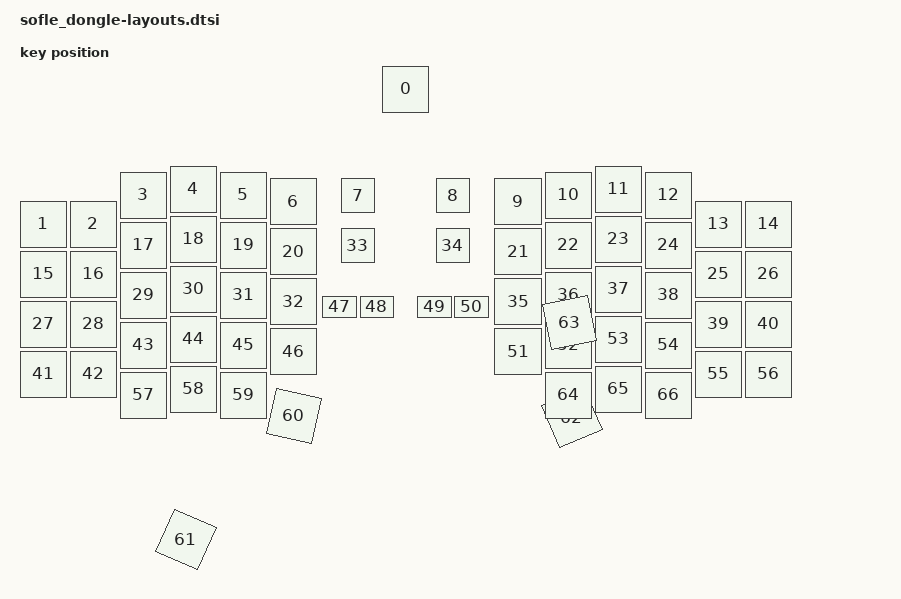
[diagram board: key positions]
#include <physical_layouts.dtsi>
#include <dt-bindings/zmk/matrix_transform.h>

/ {
    sofle_dongle_layout: sofle_dongle_layout {
        compatible = "zmk,physical-layout";
        display-name = "sofle_dongle";

        kscan = <&kscan0>;
        transform = <&matrix_transform0>;

        keys  //                     w   h    x    y     rot    rx    ry
            = <&key_physical_attrs 100 100  725    0       0     0     0>
            , <&key_physical_attrs 100 100    0  270       0     0     0>
            , <&key_physical_attrs 100 100  100  270       0     0     0>
            , <&key_physical_attrs 100 100  200  212       0     0     0>
            , <&key_physical_attrs 100 100  300  200       0     0     0>
            , <&key_physical_attrs 100 100  400  212       0     0     0>
            , <&key_physical_attrs 100 100  500  225       0     0     0>
            , <&key_physical_attrs  75  75  642  225       0     0     0>
            , <&key_physical_attrs  75  75  832  225       0     0     0>
            , <&key_physical_attrs 100 100  950  225       0     0     0>
            , <&key_physical_attrs 100 100 1050  212       0     0     0>
            , <&key_physical_attrs 100 100 1150  200       0     0     0>
            , <&key_physical_attrs 100 100 1250  212       0     0     0>
            , <&key_physical_attrs 100 100 1350  270       0     0     0>
            , <&key_physical_attrs 100 100 1450  270       0     0     0>
            , <&key_physical_attrs 100 100    0  370       0     0     0>
            , <&key_physical_attrs 100 100  100  370       0     0     0>
            , <&key_physical_attrs 100 100  200  312       0     0     0>
            , <&key_physical_attrs 100 100  300  300       0     0     0>
            , <&key_physical_attrs 100 100  400  312       0     0     0>
            , <&key_physical_attrs 100 100  500  325       0     0     0>
            , <&key_physical_attrs 100 100  950  325       0     0     0>
            , <&key_physical_attrs 100 100 1050  312       0     0     0>
            , <&key_physical_attrs 100 100 1150  300       0     0     0>
            , <&key_physical_attrs 100 100 1250  312       0     0     0>
            , <&key_physical_attrs 100 100 1350  370       0     0     0>
            , <&key_physical_attrs 100 100 1450  370       0     0     0>
            , <&key_physical_attrs 100 100    0  470       0     0     0>
            , <&key_physical_attrs 100 100  100  470       0     0     0>
            , <&key_physical_attrs 100 100  200  412       0     0     0>
            , <&key_physical_attrs 100 100  300  400       0     0     0>
            , <&key_physical_attrs 100 100  400  412       0     0     0>
            , <&key_physical_attrs 100 100  500  425       0     0     0>
            , <&key_physical_attrs  75  75  642  325       0     0     0>
            , <&key_physical_attrs  75  75  832  325       0     0     0>
            , <&key_physical_attrs 100 100  950  425       0     0     0>
            , <&key_physical_attrs 100 100 1050  412       0     0     0>
            , <&key_physical_attrs 100 100 1150  400       0     0     0>
            , <&key_physical_attrs 100 100 1250  412       0     0     0>
            , <&key_physical_attrs 100 100 1350  470       0     0     0>
            , <&key_physical_attrs 100 100 1450  470       0     0     0>
            , <&key_physical_attrs 100 100    0  570       0     0     0>
            , <&key_physical_attrs 100 100  100  570       0     0     0>
            , <&key_physical_attrs 100 100  200  512       0     0     0>
            , <&key_physical_attrs 100 100  300  500       0     0     0>
            , <&key_physical_attrs 100 100  400  512       0     0     0>
            , <&key_physical_attrs 100 100  500  525       0     0     0>
            , <&key_physical_attrs  75  50  605  460       0     0     0>
            , <&key_physical_attrs  75  50  680  460       0     0     0>
            , <&key_physical_attrs  75  50  795  460       0     0     0>
            , <&key_physical_attrs  75  50  870  460       0     0     0>
            , <&key_physical_attrs 100 100  950  525       0     0     0>
            , <&key_physical_attrs 100 100 1050  512       0     0     0>
            , <&key_physical_attrs 100 100 1150  500       0     0     0>
            , <&key_physical_attrs 100 100 1250  512       0     0     0>
            , <&key_physical_attrs 100 100 1350  570       0     0     0>
            , <&key_physical_attrs 100 100 1450  570       0     0     0>
            , <&key_physical_attrs 100 100  200  612       0     0     0>
            , <&key_physical_attrs 100 100  300  600       0     0     0>
            , <&key_physical_attrs 100 100  400  612       0     0     0>
            , <&key_physical_attrs 100 100  520  607    1193   335   593>
            , <&key_physical_attrs 100 100  642  684    2387     0     0>
            , <&key_physical_attrs 100 100  769  607 (-2387)  1082     0>
            , <&key_physical_attrs 100 100  922  684 (-1193)     0     0>
            , <&key_physical_attrs 100 100 1050  612       0     0     0>
            , <&key_physical_attrs 100 100 1150  600       0     0     0>
            , <&key_physical_attrs 100 100 1250  612       0     0     0>
            ;
    };
};
